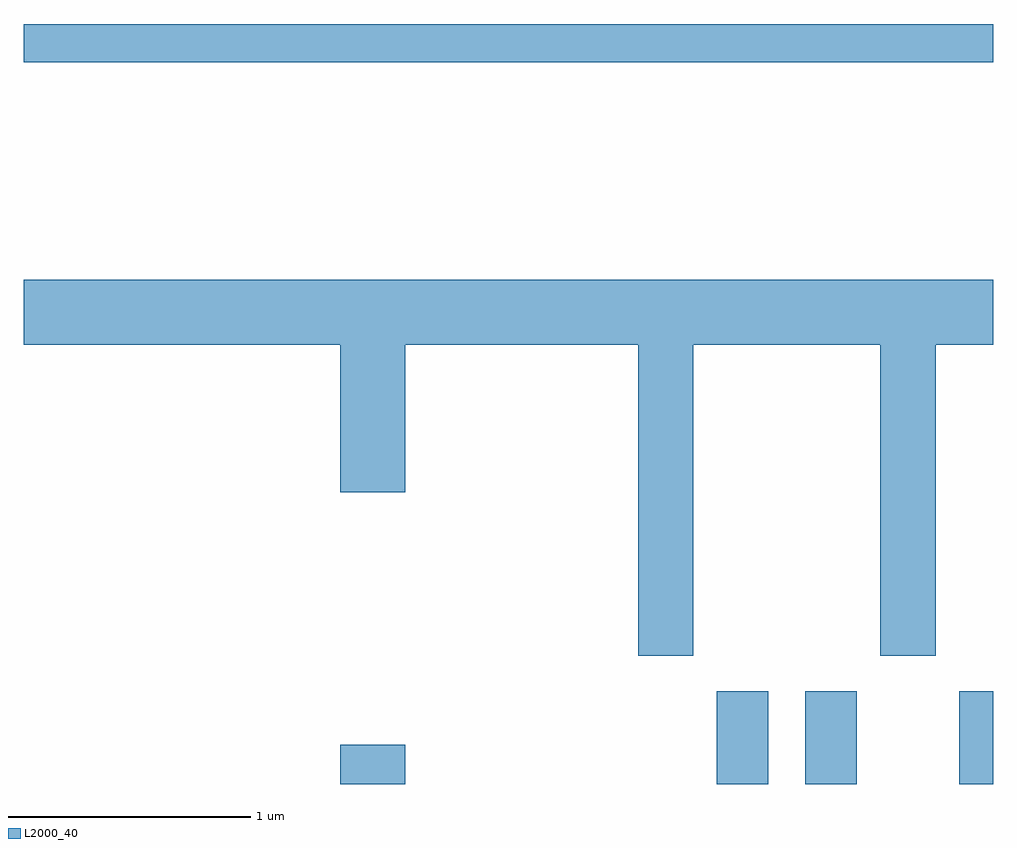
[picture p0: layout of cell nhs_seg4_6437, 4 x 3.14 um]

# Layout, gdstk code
import gdstk
lib = gdstk.Library(unit=1e-6, precision=1e-09)
def R(c, l, rs):  # rectangles x0, y0, x1, y1
    for r in rs: c.add(gdstk.rectangle(r[:2], r[2:], *l))
def P(c, l, *ps):  # polygons
    for p in ps: c.add(gdstk.Polygon(p, *l))
L2000_40 = (2000, 40)

nhs_seg4_6437 = lib.new_cell('nhs_seg4_6437')
R(nhs_seg4_6437, L2000_40, [(374.916,1343.982,375.184,1344.144), (376.471,1343.982,376.684,1344.364), (376.836,1343.982,377.049,1344.364), (377.471,1343.982,377.611,1344.364), (373.611,1346.961,377.611,1347.119)])
P(nhs_seg4_6437, L2000_40, [(376.374,1345.796),(377.146,1345.796),(377.146,1344.511),(377.374,1344.511),(377.374,1345.796),(377.611,1345.796),(377.611,1346.064),(373.611,1346.064),(373.611,1345.796),(374.916,1345.796),(374.916,1345.186),(375.184,1345.186),(375.184,1345.796),(376.146,1345.796),(376.146,1344.511),(376.374,1344.511)])

lib.write_gds('nhs_seg4_6437.gds')
